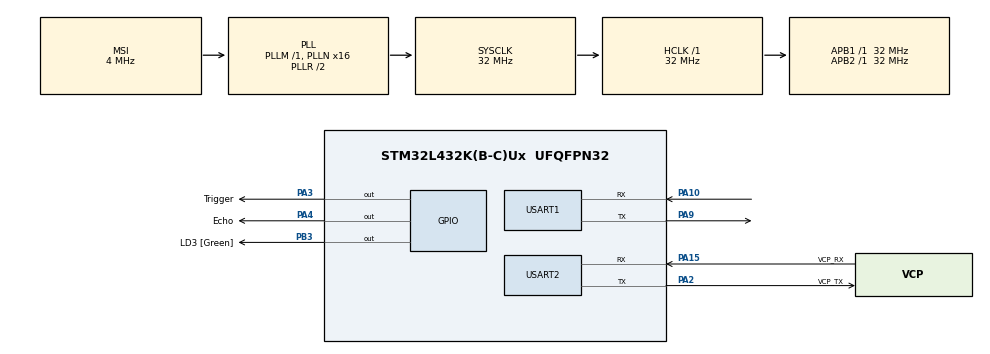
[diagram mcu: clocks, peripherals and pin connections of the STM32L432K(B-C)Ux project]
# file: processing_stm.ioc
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Mcu.Family=STM32L4
Mcu.Name=STM32L432K(B-C)Ux
Mcu.Package=UFQFPN32
NVIC.PriorityGroup=NVIC_PRIORITYGROUP_4
NVIC.TIM1_UP_TIM16_IRQn=true\:0\:0\:false\:false\:true\:true\:true\:true
NVIC.USART1_IRQn=true\:0\:0\:false\:false\:true\:true\:true\:true
NVIC.USART2_IRQn=true\:0\:0\:false\:false\:true\:true\:true\:true
PA0.GPIO_Label=MCO [High speed clock in]
PA0.Mode=HSE-External-Clock-Source-for-LittleOrca
PA0.Signal=RCC_CK_IN
PA10.Mode=Asynchronous
PA10.Signal=USART1_RX
PA13\ (JTMS-SWDIO).GPIO_Label=SWDIO
PA13\ (JTMS-SWDIO).Mode=Serial_Wire
PA13\ (JTMS-SWDIO).Signal=SYS_JTMS-SWDIO
PA14\ (JTCK-SWCLK).GPIO_Label=SWCLK
PA14\ (JTCK-SWCLK).Mode=Serial_Wire
PA14\ (JTCK-SWCLK).Signal=SYS_JTCK-SWCLK
PA15\ (JTDI).GPIO_Label=VCP_RX
PA15\ (JTDI).Mode=Asynchronous
PA15\ (JTDI).Signal=USART2_RX
PA2.GPIO_Label=VCP_TX
PA2.Mode=Asynchronous
PA2.Signal=USART2_TX
PA3.GPIO_Label=Trigger
PA3.Signal=GPIO_Output
PA4.GPIO_Label=Echo
PA4.Signal=GPIO_Output
PA9.Mode=Asynchronous
PA9.Signal=USART1_TX
PB3\ (JTDO-TRACESWO).GPIO_Label=LD3 [Green]
PB3\ (JTDO-TRACESWO).Signal=GPIO_Output
PC14-OSC32_IN\ (PC14).Mode=LSE-External-Oscillator
PC14-OSC32_IN\ (PC14).Signal=RCC_OSC32_IN
PC15-OSC32_OUT\ (PC15).Mode=LSE-External-Oscillator
PC15-OSC32_OUT\ (PC15).Signal=RCC_OSC32_OUT
ProjectManager.HeapSize=0x200
ProjectManager.StackSize=0x400
ProjectManager.TargetToolchain=STM32CubeIDE
RCC.AHBFreq_Value=32000000
RCC.APB1Freq_Value=32000000
RCC.APB1TimFreq_Value=32000000
RCC.APB2Freq_Value=32000000
RCC.APB2TimFreq_Value=32000000
RCC.CortexFreq_Value=32000000
RCC.HCLKFreq_Value=32000000
RCC.HSE_VALUE=8000000
RCC.HSI16_VALUE=16000000
RCC.HSI48_VALUE=48000000
RCC.HSI_VALUE=16000000
RCC.MSI_VALUE=4000000
RCC.PLLMUL=RCC_PLLMUL_4
RCC.PLLN=16
RCC.SYSCLKFreq_VALUE=32000000
RCC.SYSCLKSource=RCC_SYSCLKSOURCE_PLLCLK
RCC.VCOOutputFreq_Value=64000000
TIM16.Prescaler=31
USART1.VirtualMode-Asynchronous=VM_ASYNC
USART2.VirtualMode-Asynchronous=VM_ASYNC
VP_TIM16_VS_ClockSourceINT.Mode=Enable_Timer
board=NUCLEO-L432KC

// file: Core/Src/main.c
/* USER CODE BEGIN Header */
/**
  ******************************************************************************
  * @file           : main.c
  * @brief          : This subsystem receives the raw samples from the Sampling microcontroller,
  * 				  processes the audio data, and transmits it to a PC for analysis and storage.
  ******************************************************************************
  * @attention
  *
  * Copyright (c) 2025 STMicroelectronics.
  * All rights reserved.
  *
  * This software is licensed under terms that can be found in the LICENSE file
  * in the root directory of this software component.
  * If no LICENSE file comes with this software, it is provided AS-IS.
  *
  ******************************************************************************
  */
/* USER CODE END Header */
#include "main.h"
#include <stdio.h>
#include <string.h>
#include <stdint.h>

TIM_HandleTypeDef htim16;

UART_HandleTypeDef huart1;
UART_HandleTypeDef huart2;

void SystemClock_Config(void);
static void MX_GPIO_Init(void);
static void MX_USART2_UART_Init(void);
static void MX_USART1_UART_Init(void);
static void MX_TIM16_Init(void);

/* USER CODE BEGIN 0 */

// Function to flash LED for debugging (adds delay!)
void flash_LED() {
	HAL_GPIO_WritePin(LD3_GPIO_Port, LD3_Pin, 1);
	HAL_Delay(50);
	HAL_GPIO_WritePin(LD3_GPIO_Port, LD3_Pin, 0);
	HAL_Delay(50);
}

/**
 * @brief Measures distance using HC-SR04 ultrasonic sensor.
 * @return Distance in cm (8-bit integer)
 */
uint8_t read_distance_cm() {
	float distance = 100;
	// Start timer
	HAL_TIM_Base_Start(&htim16);

	// Set counter to 0
	__HAL_TIM_SET_COUNTER(&htim16, 0);
	HAL_GPIO_WritePin(Trigger_GPIO_Port, Trigger_Pin, 1);

	// Set Trigger pin high for 10us
	while (__HAL_TIM_GET_COUNTER(&htim16) < 10);

	// Reset to low
	HAL_GPIO_WritePin(Trigger_GPIO_Port, Trigger_Pin, 0);

	// Wait for Echo pin to go high
	while (HAL_GPIO_ReadPin(Echo_GPIO_Port, Echo_Pin) == 0){
		// stop waiting and assume no object as time is too long
		if (__HAL_TIM_GET_COUNTER(&htim16)>1000){
			return (uint8_t)distance;
		}
	}

	// Reset counter
	__HAL_TIM_SET_COUNTER(&htim16, 0);

	// Wait for Echo to go low
	while (HAL_GPIO_ReadPin(Echo_GPIO_Port, Echo_Pin) == 1){
		if (__HAL_TIM_GET_COUNTER(&htim16)>1000){
			return (uint8_t)distance;
		}
	}

	// Measure this interval by getting counter value
	uint16_t echoTimeHigh = __HAL_TIM_GET_COUNTER(&htim16);

	// Calculate distance in cm using formula
	distance = echoTimeHigh * 0.01715f;

	return (uint8_t)distance;
}

uint8_t receivedADCValue;  	// To store received 10-bit ADC value
// uint8_t receivedADCValue8bit;	// To store rescaled 8-bit value
uint8_t uart1DataReady = 0;		// Check if new data received over UART1

uint8_t receivedCommand;		// To store command received over UART2
uint8_t uart2DataReady = 0;		// Check if new command received over UART2

uint8_t objectWithinRange = 0;	// Check if object is within range of ultrasonic
uint8_t mode = 0;				// 1 = manual mode, 2 = distance trigger mode

// For moving average filter:
uint8_t lastValue = 0;
uint8_t sendValue = 0;
uint8_t isFirstValue = 1; // Initialise to true for first value

// For ultrasonic sensor:
uint8_t distance = 0;

// Callback function for every time UART value is received
void HAL_UART_RxCpltCallback(UART_HandleTypeDef *huart) {
	if (huart->Instance == USART1) { // Data received from sampling STM via UART1
		uart1DataReady = 1;

		// Restart reception for next value
		HAL_UART_Receive_IT(&huart1, &receivedADCValue, sizeof(receivedADCValue));
	}

	else if (huart->Instance == USART2) { // Command received from Python via UART2
		uart2DataReady = 1;

		// Restart reception for next command
		HAL_UART_Receive_IT(&huart2, &receivedCommand, sizeof(receivedCommand));
	}
}
/* USER CODE END 0 */

int main(void)
{

  /* MCU Configuration--------------------------------------------------------*/

  /* Reset of all peripherals, Initializes the Flash interface and the Systick. */
  HAL_Init();

  /* Configure the system clock */
  SystemClock_Config();

  /* Initialize all configured peripherals */
  MX_GPIO_Init();
  MX_USART2_UART_Init();
  MX_USART1_UART_Init();
  MX_TIM16_Init();
  /* USER CODE BEGIN 2 */

  // Start receiving first ADC value and trigger interrupt once 1 byte received
  HAL_UART_Receive_IT(&huart1, &receivedADCValue, sizeof(receivedADCValue));
  // Start receiving first 1-byte command over UART2 and trigger interrupt once received
  HAL_UART_Receive_IT(&huart2, &receivedCommand, sizeof(receivedCommand));

  // Ensure LED is off
  HAL_GPIO_WritePin(LD3_GPIO_Port, LD3_Pin, 0);

  /* USER CODE END 2 */

  /* Infinite loop */
  /* USER CODE BEGIN WHILE */
  while (1)
  {
	  if (uart2DataReady == 1) { // If new command has been received over UART2
	  		  if (receivedCommand == 'm') {
	  			  mode = 1;										// Set mode to manual
	  			  HAL_GPIO_WritePin(LD3_GPIO_Port, LD3_Pin, 1);	// Turn on LED
	  			  objectWithinRange = 0;						// Reset object detection
	  		  }
	  		  else if (receivedCommand == 'd') {
	  			  mode = 2;										// Set mode to distance trigger
	  			  HAL_GPIO_WritePin(LD3_GPIO_Port, LD3_Pin, 0);	// Turn off LED
	  			  objectWithinRange = 0;						// Reset object detection
	  		  }

	  		  // Reset flag
	  		  uart2DataReady = 0;
	  	  }

	  if (uart1DataReady == 1) {	// If new data has been received over UART1
		  if ((mode == 1) || objectWithinRange) {
			  // Transmit data to PC only if in manual mode, or if in distance mode with object in range

			  // Rescale from 10 bits to 8 bits
			  // receivedADCValue8bit = (receivedADCValue * 255 - 511) / 1023;

			  // Moving average filter:
			  if (isFirstValue) {
				  // Send first value as is and reset flag
				  sendValue = receivedADCValue;
				  isFirstValue = 0;
			  } else {
				  // Get the average of the previous and current value (casting to uint16_t to avoid overflow)
				  sendValue = ((uint16_t)receivedADCValue + (uint16_t)lastValue) / 2;
			  }

			  // Transmit value to PC
			  HAL_UART_Transmit(&huart2, &sendValue, sizeof(sendValue), HAL_MAX_DELAY);

			  // Store the last value
			  lastValue = receivedADCValue;
		  }

		  // Reset flag
		  uart1DataReady = 0;
	  }

	  if (mode == 2) {// Get data from ultrasonic if in distance trigger mode
		  // Read distance
		  distance = read_distance_cm();

		  if (distance < 10) { // object detected within 10cm
			  objectWithinRange = 1;
			  HAL_GPIO_WritePin(LD3_GPIO_Port, LD3_Pin, 1);
		  }
		  else {
			  // reset object detection
			  objectWithinRange = 0;
			  HAL_GPIO_WritePin(LD3_GPIO_Port, LD3_Pin, 0);
		  }

		  // 60ms delay between ultrasonic readings
		  HAL_Delay(60);
	  }
    /* USER CODE END WHILE */

  }
}

void SystemClock_Config(void)
{
  RCC_OscInitTypeDef RCC_OscInitStruct = {0};
  RCC_ClkInitTypeDef RCC_ClkInitStruct = {0};

  /** Configure the main internal regulator output voltage
  */
  if (HAL_PWREx_ControlVoltageScaling(PWR_REGULATOR_VOLTAGE_SCALE1) != HAL_OK)
  {
    Error_Handler();
  }

  /** Configure LSE Drive Capability
  */
  HAL_PWR_EnableBkUpAccess();
  __HAL_RCC_LSEDRIVE_CONFIG(RCC_LSEDRIVE_LOW);

  /** Initializes the RCC Oscillators according to the specified parameters
  * in the RCC_OscInitTypeDef structure.
  */
  RCC_OscInitStruct.OscillatorType = RCC_OSCILLATORTYPE_LSE|RCC_OSCILLATORTYPE_MSI;
  RCC_OscInitStruct.LSEState = RCC_LSE_ON;
  RCC_OscInitStruct.MSIState = RCC_MSI_ON;
  RCC_OscInitStruct.MSICalibrationValue = 0;
  RCC_OscInitStruct.MSIClockRange = RCC_MSIRANGE_6;
  RCC_OscInitStruct.PLL.PLLState = RCC_PLL_ON;
  RCC_OscInitStruct.PLL.PLLSource = RCC_PLLSOURCE_MSI;
  RCC_OscInitStruct.PLL.PLLM = 1;
  RCC_OscInitStruct.PLL.PLLN = 16;
  RCC_OscInitStruct.PLL.PLLP = RCC_PLLP_DIV7;
  RCC_OscInitStruct.PLL.PLLQ = RCC_PLLQ_DIV2;
  RCC_OscInitStruct.PLL.PLLR = RCC_PLLR_DIV2;
  if (HAL_RCC_OscConfig(&RCC_OscInitStruct) != HAL_OK)
  {
    Error_Handler();
  }

  /** Initializes the CPU, AHB and APB buses clocks
  */
  RCC_ClkInitStruct.ClockType = RCC_CLOCKTYPE_HCLK|RCC_CLOCKTYPE_SYSCLK
                              |RCC_CLOCKTYPE_PCLK1|RCC_CLOCKTYPE_PCLK2;
  RCC_ClkInitStruct.SYSCLKSource = RCC_SYSCLKSOURCE_PLLCLK;
  RCC_ClkInitStruct.AHBCLKDivider = RCC_SYSCLK_DIV1;
  RCC_ClkInitStruct.APB1CLKDivider = RCC_HCLK_DIV1;
  RCC_ClkInitStruct.APB2CLKDivider = RCC_HCLK_DIV1;

  if (HAL_RCC_ClockConfig(&RCC_ClkInitStruct, FLASH_LATENCY_1) != HAL_OK)
  {
    Error_Handler();
  }

  /** Enable MSI Auto calibration
  */
  HAL_RCCEx_EnableMSIPLLMode();
}

static void MX_TIM16_Init(void)
{

  htim16.Instance = TIM16;
  htim16.Init.Prescaler = 31;
  htim16.Init.CounterMode = TIM_COUNTERMODE_UP;
  htim16.Init.Period = 65535;
  htim16.Init.ClockDivision = TIM_CLOCKDIVISION_DIV1;
  htim16.Init.RepetitionCounter = 0;
  htim16.Init.AutoReloadPreload = TIM_AUTORELOAD_PRELOAD_DISABLE;
  if (HAL_TIM_Base_Init(&htim16) != HAL_OK)
  {
    Error_Handler();
  }

}

static void MX_USART1_UART_Init(void)
{

  huart1.Instance = USART1;
  huart1.Init.BaudRate = 115200;
  huart1.Init.WordLength = UART_WORDLENGTH_8B;
  huart1.Init.StopBits = UART_STOPBITS_1;
  huart1.Init.Parity = UART_PARITY_NONE;
  huart1.Init.Mode = UART_MODE_TX_RX;
  huart1.Init.HwFlowCtl = UART_HWCONTROL_NONE;
  huart1.Init.OverSampling = UART_OVERSAMPLING_16;
  huart1.Init.OneBitSampling = UART_ONE_BIT_SAMPLE_DISABLE;
  huart1.AdvancedInit.AdvFeatureInit = UART_ADVFEATURE_NO_INIT;
  if (HAL_UART_Init(&huart1) != HAL_OK)
  {
    Error_Handler();
  }

}

static void MX_USART2_UART_Init(void)
{

  huart2.Instance = USART2;
  huart2.Init.BaudRate = 115200;
  huart2.Init.WordLength = UART_WORDLENGTH_8B;
  huart2.Init.StopBits = UART_STOPBITS_1;
  huart2.Init.Parity = UART_PARITY_NONE;
  huart2.Init.Mode = UART_MODE_TX_RX;
  huart2.Init.HwFlowCtl = UART_HWCONTROL_NONE;
  huart2.Init.OverSampling = UART_OVERSAMPLING_16;
  huart2.Init.OneBitSampling = UART_ONE_BIT_SAMPLE_DISABLE;
  huart2.AdvancedInit.AdvFeatureInit = UART_ADVFEATURE_NO_INIT;
  if (HAL_UART_Init(&huart2) != HAL_OK)
  {
    Error_Handler();
  }

}

static void MX_GPIO_Init(void)
{
	GPIO_InitTypeDef GPIO_InitStruct = {0};

	/* GPIO Ports Clock Enable */
	__HAL_RCC_GPIOC_CLK_ENABLE();
	__HAL_RCC_GPIOA_CLK_ENABLE();
	__HAL_RCC_GPIOB_CLK_ENABLE();

	/*Configure GPIO pin Output Level */
	HAL_GPIO_WritePin(Trigger_GPIO_Port, Trigger_Pin, GPIO_PIN_RESET);

	/*Configure GPIO pin Output Level */
	HAL_GPIO_WritePin(LD3_GPIO_Port, LD3_Pin, GPIO_PIN_RESET);

	/*Configure GPIO pin : Trigger_Pin */
	GPIO_InitStruct.Pin = Trigger_Pin;
	GPIO_InitStruct.Mode = GPIO_MODE_OUTPUT_PP;
	GPIO_InitStruct.Pull = GPIO_NOPULL;
	GPIO_InitStruct.Speed = GPIO_SPEED_FREQ_LOW;
	HAL_GPIO_Init(Trigger_GPIO_Port, &GPIO_InitStruct);

	/*Configure GPIO pin : Echo_Pin */
	GPIO_InitStruct.Pin = Echo_Pin;
	GPIO_InitStruct.Mode = GPIO_MODE_INPUT;
	GPIO_InitStruct.Pull = GPIO_NOPULL;
	HAL_GPIO_Init(Echo_GPIO_Port, &GPIO_InitStruct);

	/*Configure GPIO pin : LD3_Pin */
	GPIO_InitStruct.Pin = LD3_Pin;
	GPIO_InitStruct.Mode = GPIO_MODE_OUTPUT_PP;
	GPIO_InitStruct.Pull = GPIO_NOPULL;
	GPIO_InitStruct.Speed = GPIO_SPEED_FREQ_LOW;
	HAL_GPIO_Init(LD3_GPIO_Port, &GPIO_InitStruct);

}

void Error_Handler(void)
{
  __disable_irq();
  while (1)
  {
  }
}
